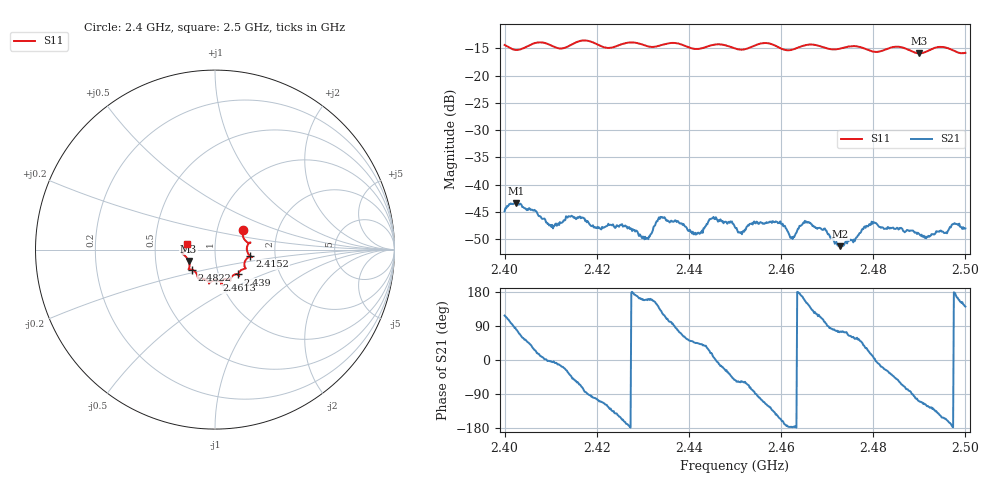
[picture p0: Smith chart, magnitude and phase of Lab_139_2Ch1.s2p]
# Hz S RI R 50
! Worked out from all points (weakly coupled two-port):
!   601 points, 2.4 GHz to 2.5 GHz, reference 50 ohm
!   highest |S21| = -43.35 dB at 2.4025 GHz (marker M1); lowest = -51.3 dB at 2.4728 GHz (marker M2)
!   lowest |S11| = -15.9 dB at 2.49 GHz (marker M3), VSWR 1.38, Z = 36.9 - j4.83 ohm
!   |S11| at or under -10 dB: start of sweep to end of sweep
!   S12 and S22 are empty: the file has one direction only
!   S11 on the Smith chart (normalised r, x): 2.4 GHz: 1.33, +0.31; 2.4152 GHz: 1.48, -0.11; 2.439 GHz: 1.24, -0.36; 2.4613 GHz: 0.96, -0.34; 2.4822 GHz: 0.76, -0.17; 2.5 GHz: 0.73, +0.05
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2.4e9  0.1556 0.1108  -0.00262 0.00508  0 0  0 0
2.4025e9  0.1574 0.0691  0.00114 0.0067  0 0  0 0
2.410167e9  0.1859 0.031  0.00409 -0.000331  0 0  0 0
2.415167e9  0.1952 -0.036  0.00312 -0.00397  0 0  0 0
2.416667e9  0.2049 -0.0419  0.00168 -0.00475  0 0  0 0
2.430667e9  0.1512 -0.1114  -0.00297 0.00116  0 0  0 0
2.433333e9  0.1321 -0.1324  -0.00382 0.00299  0 0  0 0
2.439e9  0.1279 -0.1385  0.00199 0.00374  0 0  0 0
2.442e9  0.0986 -0.1453  0.00262 0.00254  0 0  0 0
2.4455e9  0.0846 -0.1725  0.00485 0.000453  0 0  0 0
2.45e9  0.0687 -0.1635  0.00247 -0.00324  0 0  0 0
2.458667e9  0.0361 -0.1854  -0.00346 -0.00295  0 0  0 0
2.461333e9  0.00739 -0.1706  -0.00377 -0.000454  0 0  0 0
2.4625e9  -0.0099 -0.173  -0.00319 -0.000145  0 0  0 0
2.465e9  -0.0324 -0.186  -0.0042 0.0015  0 0  0 0
2.466667e9  -0.0334 -0.1898  -0.00294 0.00319  0 0  0 0
2.472833e9  -0.0755 -0.16  0.000723 0.00264  0 0  0 0
2.479667e9  -0.1045 -0.1308  0.00447 0.00104  0 0  0 0
2.482167e9  -0.1282 -0.1119  0.00378 -0.00141  0 0  0 0
2.483333e9  -0.1397 -0.1103  0.00344 -0.00215  0 0  0 0
2.49e9  -0.1469 -0.0638  -0.00116 -0.00334  0 0  0 0
2.5e9  -0.1583 0.0339  -0.00309 0.00251  0 0  0 0
